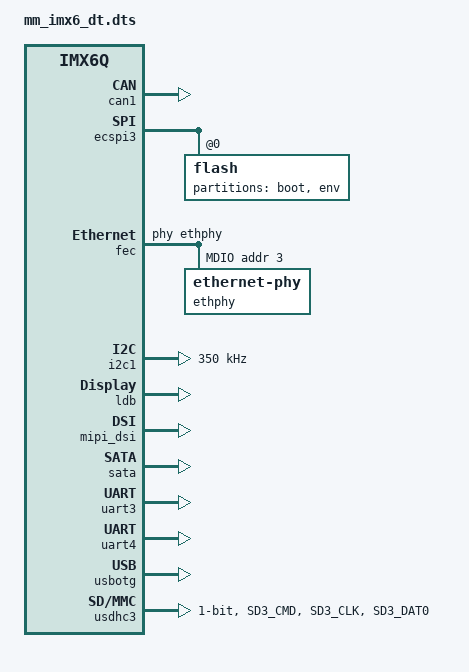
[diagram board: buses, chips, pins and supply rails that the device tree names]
/dts-v1/;

#include <arm/imx6q.dtsi>
#include <arm/imx6qdl-phytec-pfla02.dtsi>

/ {
	memory {
		reg = <0 0>;
	};

	chosen {
		linux,stdout-path = &uart4;

		environment-spinor {
			compatible = "barebox,environment";
			device-path = &ecspi3, "partname:env";
			status = "disabled";
		};

		environment-sd3 {
			compatible = "barebox,environment";
			device-path = &ecspi3, "partname:env";
			status = "disabled";
		};
	};
};

&can1 {
	status = "okay";
};

&ecspi3 {
	/* cs-gpios = <&gpio4 24 GPIO_ACTIVE_LOW>; */

	flash: flash@0 {
		#address-cells = <1>;
		#size-cells = <1>;

		partition@0 {
			label = "boot";
			reg = <0x00000 0x80000>;
		};

		partition@1 {
			label = "env";
			reg = <0x80000 0x40000>;
		};
	};
};

&eeprom {
	pagesize = <32>;
};

&fec {
	status = "okay";
	phy-handle = <&ethphy>;
	phy-reset-duration = <10>;

	mdio {
		#address-cells = <1>;
		#size-cells = <0>;

		ethphy: ethernet-phy@3 {
			reg = <3>;

			txc-skew-ps = <1680>;
			rxc-skew-ps = <1860>;
		};
	};
};

//&gpmi {
//	#address-cells = <1>;
//	#size-cells = <1>;
//
//	partition@0 {
//		label = "barebox";
//		reg = <0x0 0x400000>;
//	};
//
//	partition@400000 {
//		label = "barebox-environment";
//		reg = <0x400000 0x100000>;
//	};
//
//	partition@500000 {
//		label = "oftree";
//		reg = <0x500000 0x100000>;
//	};
//
//	partition@600000 {
//		label = "kernel";
//		reg = <0x600000 0x800000>;
//	};
//
//	partition@e00000 {
//		label = "root";
//		reg = <0xe00000 0x0>;
//	};
//};

&i2c1 {
	/* WM8753 SCLK Low pulse-width MIN 1.3us */
	clock-frequency = <350000>;

//	wm8753: wm8753@1b {
//		#sound-dai-cells = <0>;
//		compatible = "wlf,wm8753";
//		reg = <0x1b>;
//	};

//	rtc@68 {
//		compatible = "maxim,ds3231";
//		reg = <0x68>;
//		#clock-cells = <1>;
//	};
};

//&hdmi {
//	status = "okay";
//};

&ldb {
	status = "okay";
};

&mipi_dsi {
	status = "okay";
};

&ocotp {
	barebox,provide-mac-address = <&fec 0x620>;
};

&sata {
	status = "okay";
};

&snvs {
	status = "disabled";
};

&uart3 {
	status = "okay";
};

&uart4 {
	status = "okay";
};

&usbotg {
	status = "okay";
};

&usbphy2 {
	status = "disabled";
};

&usdhc3 {
        pinctrl-names = "default";
        pinctrl-0 = <&pinctrl_usdhc3>;
	cd-gpios = <>;
	wp-gpios = <>;
	bus-width = <1>;
	status = "okay";
};

&iomuxc {
	imx6q-phytec-pfla02 {
		pinctrl_hog: hoggrp {
			fsl,pins = <
				MX6QDL_PAD_SD4_DAT3__GPIO2_IO11 	0x80000000	/* Revision */
				MX6QDL_PAD_SD4_DAT4__GPIO2_IO12		0x80000000	/* Revision */
				MX6QDL_PAD_SD4_DAT5__GPIO2_IO13		0x80000000	/* Revision */
				MX6QDL_PAD_SD4_DAT6__GPIO2_IO14		0x80000000	/* Revision */
				MX6QDL_PAD_SD4_DAT7__GPIO2_IO15		0x80000000	/* Revision */

				/* FIXME */
				MX6QDL_PAD_EIM_D23__GPIO3_IO23		0x80000000

				MX6QDL_PAD_ENET_TXD0__GPIO1_IO30	0x80000000	/* LED */
				MX6QDL_PAD_EIM_EB3__GPIO2_IO31		0x80000000	/* LED */
			>;
		};

		pinctrl_ecspi3: ecspi3grp {
			fsl,pins = <
				MX6QDL_PAD_DISP0_DAT2__ECSPI3_MISO	0x100b1
				MX6QDL_PAD_DISP0_DAT1__ECSPI3_MOSI	0x100b1
				MX6QDL_PAD_DISP0_DAT0__ECSPI3_SCLK	0x100b1
				MX6QDL_PAD_DISP0_DAT3__GPIO4_IO24	0x80000000	/* CS0 */
				MX6QDL_PAD_SD4_DAT1__GPIO2_IO09		0x80000000	/* IRQ */
			>;
		};

		pinctrl_uart3: uart3grp {
			fsl,pins = <
				MX6QDL_PAD_EIM_D24__UART3_TX_DATA	0x1b0b1
				MX6QDL_PAD_EIM_D25__UART3_RX_DATA	0x1b0b1
			>;
		};

		pinctrl_usdhc3: usdhc3grp {
			fsl,pins = <
				MX6QDL_PAD_SD3_CMD__SD3_CMD		0x17059
				MX6QDL_PAD_SD3_CLK__SD3_CLK		0x10059
				MX6QDL_PAD_SD3_DAT0__SD3_DATA0		0x17059
			>;
		};
	};
};
